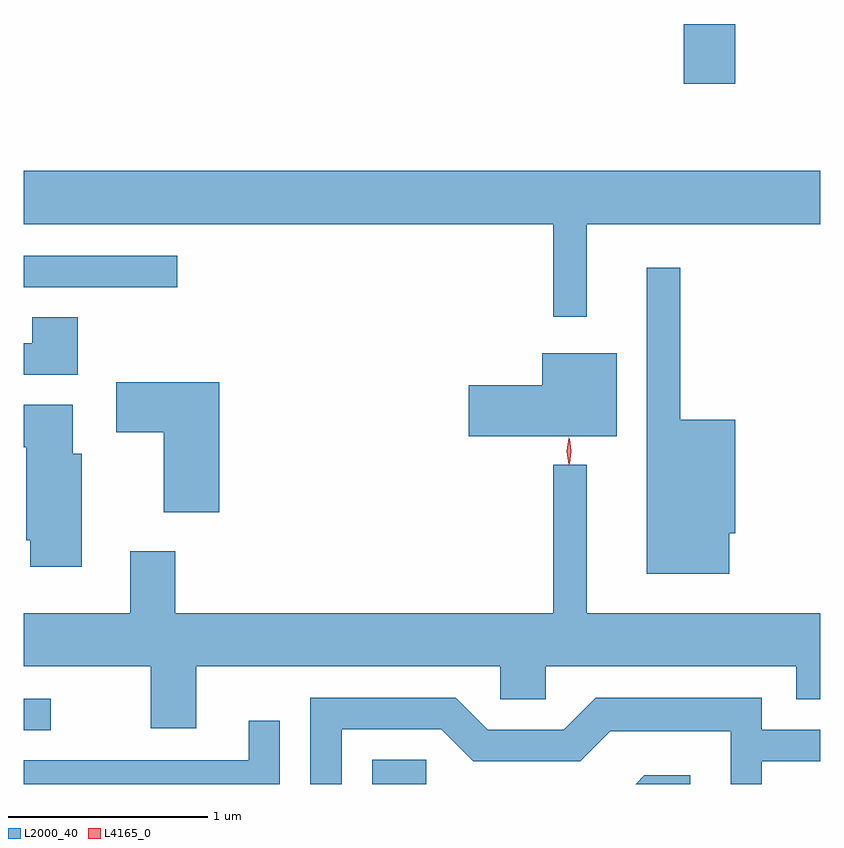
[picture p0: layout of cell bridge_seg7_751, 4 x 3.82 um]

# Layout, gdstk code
import gdstk
lib = gdstk.Library(unit=1e-6, precision=1e-09)
def R(c, l, rs):  # rectangles x0, y0, x1, y1
    for r in rs: c.add(gdstk.rectangle(r[:2], r[2:], *l))
def P(c, l, *ps):  # polygons
    for p in ps: c.add(gdstk.Polygon(p, *l))
L2000_40 = (2000, 40)
L4165_0 = (4165, 0)

bridge_seg7_751 = lib.new_cell('bridge_seg7_751')
R(bridge_seg7_751, L2000_40, [(460.861,1802.526,461.133,1802.649), (459.112,1802.796,459.248,1802.954), (459.112,1805.021,459.883,1805.179), (462.426,1806.041,462.684,1806.342)])
P(bridge_seg7_751, L2000_40, [(461.939,1805.336),(463.112,1805.336),(463.112,1805.604),(459.112,1805.604),(459.112,1805.336),(461.771,1805.336),(461.771,1804.873),(461.939,1804.873)],
  [(462.654,1803.786),(462.684,1803.786),(462.684,1804.354),(462.409,1804.354),(462.409,1805.118),(462.241,1805.118),(462.241,1803.581),(462.654,1803.581)],
  [(459.384,1804.869),(459.156,1804.869),(459.156,1804.739),(459.112,1804.739),(459.112,1804.581),(459.384,1804.581)],
  [(462.089,1804.689),(461.716,1804.689),(461.716,1804.529),(461.346,1804.529),(461.346,1804.271),(462.089,1804.271)],
  [(460.094,1804.544),(459.576,1804.544),(459.576,1804.291),(459.816,1804.291),(459.816,1803.891),(460.094,1803.891)],
  [(459.404,1804.184),(459.359,1804.184),(459.359,1804.429),(459.112,1804.429),(459.112,1804.216),(459.126,1804.216),(459.126,1803.751),(459.146,1803.751),(459.146,1803.616),(459.404,1803.616)],
  [(459.979,1803.116),(461.506,1803.116),(461.506,1802.951),(461.734,1802.951),(461.734,1803.116),(462.991,1803.116),(462.991,1802.951),(463.112,1802.951),(463.112,1803.384),(461.939,1803.384),(461.939,1804.128),(461.771,1804.128),(461.771,1803.384),(459.874,1803.384),(459.874,1803.694),(459.646,1803.694),(459.646,1803.384),(459.112,1803.384),(459.112,1803.116),(459.751,1803.116),(459.751,1802.806),(459.979,1802.806)],
  [(460.709,1802.801),(461.209,1802.801),(461.369,1802.641),(461.907,1802.641),(462.057,1802.791),(462.661,1802.791),(462.661,1802.526),(462.819,1802.526),(462.819,1802.641),(463.112,1802.641),(463.112,1802.799),(462.819,1802.799),(462.819,1802.959),(461.984,1802.959),(461.824,1802.799),(461.442,1802.799),(461.282,1802.959),(460.551,1802.959),(460.551,1802.526),(460.709,1802.526)],
  [(460.399,1802.843),(460.241,1802.843),(460.241,1802.644),(459.112,1802.644),(459.112,1802.526),(460.399,1802.526)],
  [(462.458,1802.569),(462.229,1802.569),(462.186,1802.526),(462.458,1802.526)])
P(bridge_seg7_751, L4165_0, [(461.852,1804.133),(461.852,1804.134),(461.842,1804.196),(461.852,1804.26),(461.852,1804.26),(461.853,1804.26),(461.862,1804.196),(461.853,1804.134)],
  [(461.85,1804.13),(461.85,1804.13),(461.839,1804.198),(461.848,1804.265),(461.849,1804.266),(461.85,1804.265),(461.86,1804.198),(461.85,1804.13)])

lib.write_gds('bridge_seg7_751.gds')
